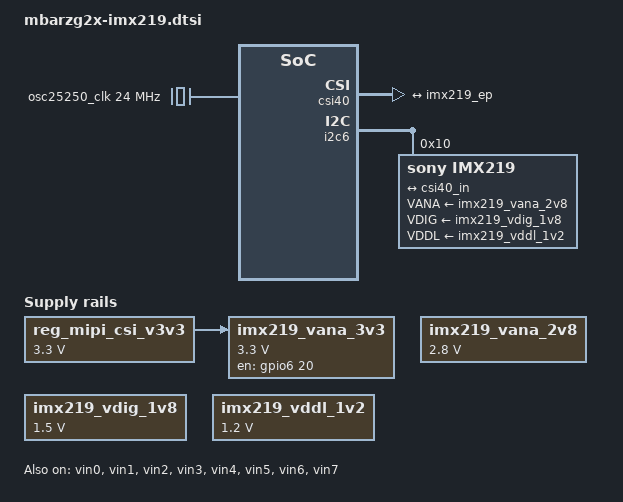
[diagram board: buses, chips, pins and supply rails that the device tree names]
// SPDX-License-Identifier: GPL-2.0-or-later OR MIT
/*
 * Copyright (c) 2023 TQ-Systems GmbH <linux@ew.tq-group.com>, D-82229 Seefeld, Germany.
 * Author: Paul Gerber
 *
 */

/ {
	/* This voltage converter is located on the connector MBaxCA */
	reg_mipi_csi_v3v3: regulator-mipi-csi-v3v3 {
		compatible = "regulator-fixed";
		regulator-name = "MIPI_CSI_V_3V3";
		regulator-min-microvolt = <3300000>;
		regulator-max-microvolt = <3300000>;
		regulator-always-on;
	};

	imx219_vana_3v3: imx219-3p3v {
		compatible = "regulator-fixed";
		regulator-name = "camera_3p3";
		regulator-min-microvolt = <3300000>;
		regulator-max-microvolt = <3300000>;
		regulator-always-on;
		gpio = <&gpio6 20 GPIO_ACTIVE_HIGH>;
		enable-active-high;
		vin-supply = <&reg_mipi_csi_v3v3>;
	};

	imx219_vana_2v8: 2p8v {
		compatible = "regulator-fixed";
		regulator-name = "camera_vana";
		regulator-min-microvolt = <2800000>;
		regulator-max-microvolt = <2800000>;
		regulator-always-on;
	};

	imx219_vdig_1v8: 1p8v {
		compatible = "regulator-fixed";
		regulator-name = "camera_vdig";
		regulator-min-microvolt = <1500000>;
		regulator-max-microvolt = <1500000>;
		regulator-always-on;
	};

	imx219_vddl_1v2: 1p2v {
		compatible = "regulator-fixed";
		regulator-name = "camera_vddl";
		regulator-min-microvolt = <1200000>;
		regulator-max-microvolt = <1200000>;
		regulator-always-on;
	};

	osc25250_clk: osc25250_clk {
		compatible = "fixed-clock";
		#clock-cells = <0>;
		clock-frequency = <24000000>;
	};
};

&csi40 {
	status = "okay";

	ports {
		port@0 {
			reg = <0>;

			csi40_in: endpoint {
				clock-lanes = <0>;
				data-lanes = <1 2>;
				remote-endpoint = <&imx219_ep>;
			};
		};
	};
};

&i2c6 {
	imx219: imx219@10 {
		compatible = "sony,imx219";
		reg = <0x10>;
		clocks = <&osc25250_clk>;
		VANA-supply = <&imx219_vana_2v8>;
		VDIG-supply = <&imx219_vdig_1v8>;
		VDDL-supply = <&imx219_vddl_1v2>;
		orientation = <2>;
		rotation = <0>;

		port {
			imx219_ep: endpoint {
				clock-lanes = <0>;
				data-lanes = <1 2>;
				link-frequencies = /bits/ 64 <456000000>;
				remote-endpoint = <&csi40_in>;
			};
		};
	};
};

&vin0 {
	status = "okay";
};

&vin1 {
	status = "okay";
};

&vin2 {
	status = "okay";
};

&vin3 {
	status = "okay";
};

&vin4 {
	status = "okay";
};

&vin5 {
	status = "okay";
};

&vin6 {
	status = "okay";
};

&vin7 {
	status = "okay";
};
